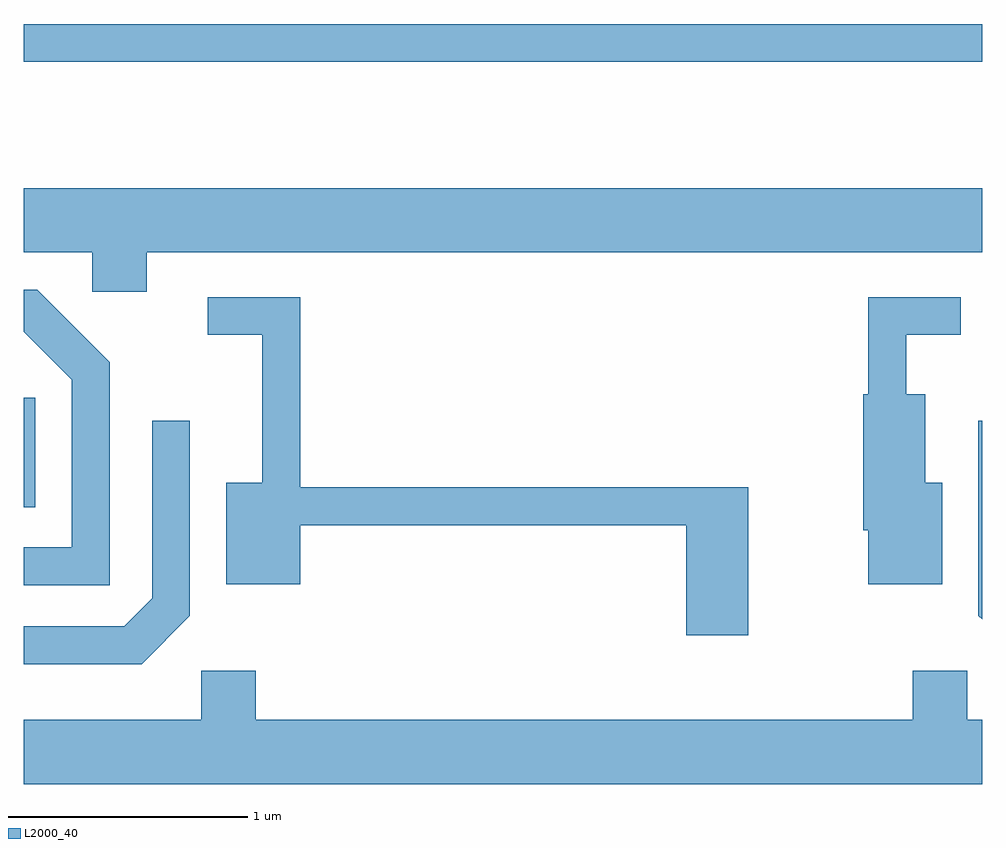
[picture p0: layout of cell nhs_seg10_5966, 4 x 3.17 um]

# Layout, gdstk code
import gdstk
lib = gdstk.Library(unit=1e-6, precision=1e-09)
def R(c, l, rs):  # rectangles x0, y0, x1, y1
    for r in rs: c.add(gdstk.rectangle(r[:2], r[2:], *l))
def P(c, l, *ps):  # polygons
    for p in ps: c.add(gdstk.Polygon(p, *l))
L2000_40 = (2000, 40)

nhs_seg10_5966 = lib.new_cell('nhs_seg10_5966')
R(nhs_seg10_5966, L2000_40, [(361.611,2123.951,361.659,2124.409), (361.611,2125.811,365.611,2125.969)])
P(nhs_seg10_5966, L2000_40, [(362.124,2125.016),(365.611,2125.016),(365.611,2125.284),(361.611,2125.284),(361.611,2125.016),(361.896,2125.016),(361.896,2124.851),(362.124,2124.851)],
  [(361.969,2124.557),(361.667,2124.859),(361.611,2124.859),(361.611,2124.684),(361.811,2124.484),(361.811,2123.784),(361.611,2123.784),(361.611,2123.626),(361.969,2123.626)],
  [(364.634,2124.034),(362.764,2124.034),(362.764,2124.829),(362.378,2124.829),(362.378,2124.671),(362.606,2124.671),(362.606,2124.054),(362.456,2124.054),(362.456,2123.631),(362.764,2123.631),(362.764,2123.876),(364.376,2123.876),(364.376,2123.416),(364.634,2123.416)],
  [(365.444,2124.054),(365.374,2124.054),(365.374,2124.424),(365.294,2124.424),(365.294,2124.671),(365.523,2124.671),(365.523,2124.829),(365.136,2124.829),(365.136,2124.424),(365.116,2124.424),(365.116,2123.856),(365.136,2123.856),(365.136,2123.631),(365.444,2123.631)],
  [(362.304,2123.499),(362.304,2124.313),(362.146,2124.313),(362.146,2123.572),(362.029,2123.454),(361.611,2123.454),(361.611,2123.296),(362.102,2123.296)],
  [(365.611,2124.313),(365.596,2124.313),(365.596,2123.499),(365.611,2123.484)],
  [(365.611,2123.064),(365.549,2123.064),(365.549,2123.269),(365.321,2123.269),(365.321,2123.064),(362.579,2123.064),(362.579,2123.269),(362.351,2123.269),(362.351,2123.064),(361.611,2123.064),(361.611,2122.796),(365.611,2122.796)])

lib.write_gds('nhs_seg10_5966.gds')
